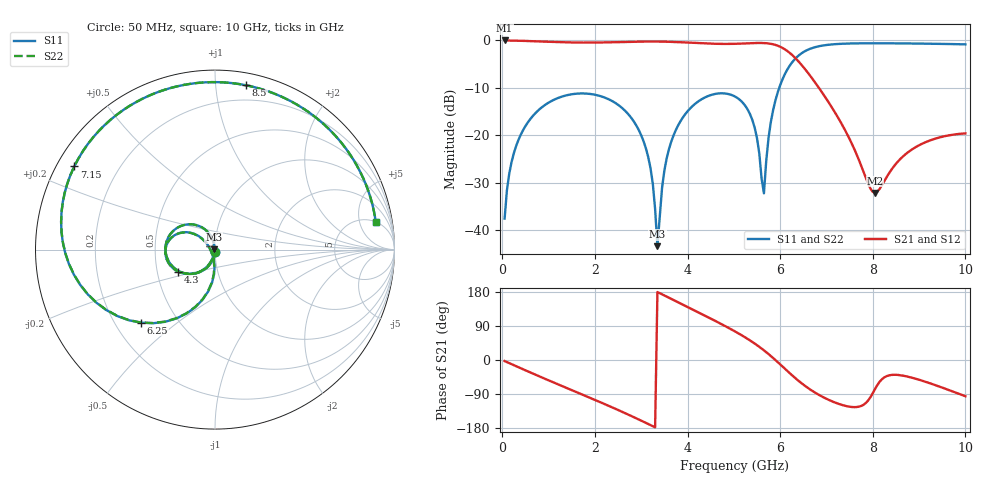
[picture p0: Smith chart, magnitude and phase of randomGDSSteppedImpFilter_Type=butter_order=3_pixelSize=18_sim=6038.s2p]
! freq	dB(S11)	phase(S11)	dB(S12)	phase(S12)
!  dB(S21)	phase(S21)	dB(S22)	phase(S22)
!S-par simulation data
#  GHz  S  DB  R 50
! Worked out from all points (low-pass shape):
!   200 points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, 50 MHz to 10 GHz, reference 50 ohm
!   highest |S21| = 0.00 dB at 50 MHz (marker M1); lowest = -32.2 dB at 8.05 GHz (marker M2)
!   |S21| within 3 dB of the highest: start of sweep to 6.251 GHz
!   lowest |S11| = -43.4 dB at 3.35 GHz (marker M3), VSWR 1.01, Z = 49.3 + j0.154 ohm
!   |S11| at or under -10 dB: start of sweep to 5.98 GHz
!   |S22| runs from -43.5 to -0.6 dB; largest |S21 - S12| = 0
!   S11 on the Smith chart (normalised r, x): 50 MHz: 1.00, -0.03; 4.3 GHz: 0.64, -0.17; 6.25 GHz: 0.31, -0.38; 7.15 GHz: 0.05, +0.27; 8.5 GHz: 0.09, +1.20; 10 GHz: 5, +9
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0.05  -37.58 -92.5  -0.00 -2.8  -0.00 -2.8  -37.58 -92.5
0.2  -25.65 -101.1  -0.03 -11.0  -0.03 -11.0  -25.65 -101.1
0.5  -18.06 -117.7  -0.10 -27.2  -0.10 -27.2  -18.06 -117.7
1.75  -11.18 177.1  -0.45 -92.4  -0.45 -92.4  -11.18 177.1
2.95  -18.95 113.7  -0.25 -157.1  -0.25 -157.1  -18.96 113.6
3.2  -26.90 101.9  -0.23 -171.7  -0.23 -171.7  -26.91 101.7
3.35  -43.39 166.7  -0.24 179.3  -0.24 179.3  -43.54 166.7
3.4  -37.32 -113.2  -0.24 176.3  -0.24 176.3  -37.36 -112.0
3.5  -27.41 -105.1  -0.26 170.3  -0.26 170.3  -27.41 -104.8
3.65  -21.30 -111.6  -0.30 161.2  -0.30 161.2  -21.30 -111.4
4.3  -12.43 -149.2  -0.59 121.6  -0.59 121.6  -12.43 -149.1
5.05  -11.97 164.8  -0.70 73.7  -0.70 73.7  -11.96 165.0
5.45  -18.40 140.4  -0.55 43.4  -0.55 43.4  -18.38 141.0
5.65  -32.24 -134.3  -0.55 25.4  -0.55 25.4  -31.77 -135.6
5.85  -14.61 -95.2  -0.82 5.1  -0.82 5.1  -14.60 -95.7
6.25  -4.73 -135.4  -2.99 -39.5  -2.99 -39.5  -4.73 -135.6
6.7  -1.58 -178.5  -8.13 -82.0  -8.13 -82.0  -1.58 -178.6
7.15  -0.81 149.4  -14.65 -110.5  -14.65 -110.5  -0.81 149.3
8.05  -0.59 100.8  -32.15 -76.3  -32.15 -76.3  -0.59 100.8
8.35  -0.60 86.4  -28.03 -40.6  -28.03 -40.6  -0.60 86.3
8.5  -0.61 79.3  -26.02 -39.1  -26.02 -39.1  -0.61 79.2
10  -0.83 9.9  -19.60 -95.6  -19.60 -95.6  -0.83 9.8
